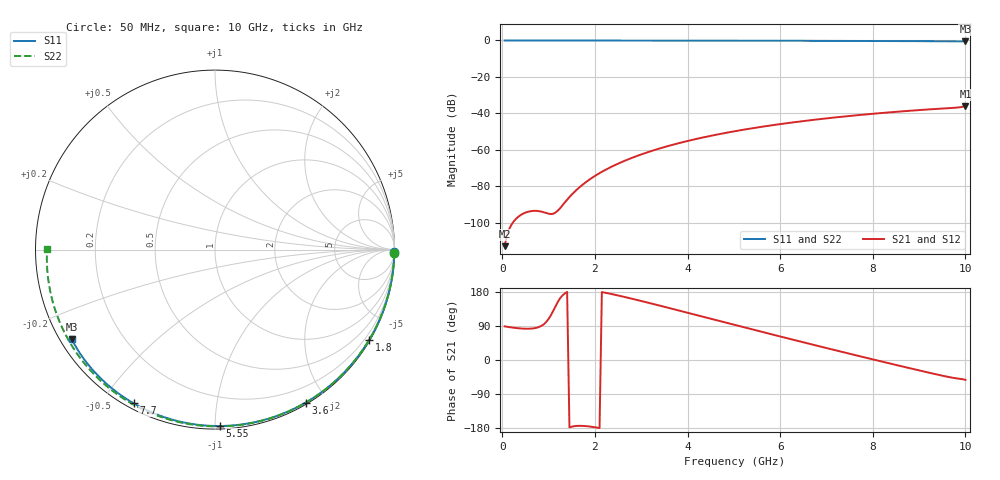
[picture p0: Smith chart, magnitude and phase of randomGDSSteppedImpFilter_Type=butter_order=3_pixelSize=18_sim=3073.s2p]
! freq	dB(S11)	phase(S11)	dB(S12)	phase(S12)
!  dB(S21)	phase(S21)	dB(S22)	phase(S22)
!S-par simulation data
#  GHz  S  DB  R 50
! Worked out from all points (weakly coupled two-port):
!   200 points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, 50 MHz to 10 GHz, reference 50 ohm
!   highest |S21| = -36.11 dB at 10 GHz (marker M1); lowest = -112.9 dB at 50 MHz (marker M2)
!   lowest |S11| = -0.5 dB at 10 GHz (marker M3), VSWR 33.57, Z = 1.61 - j14.4 ohm
!   |S11| at or under -10 dB: nowhere
!   |S22| runs from -0.6 to 0.0 dB; largest |S21 - S12| = 0
!   S11 on the Smith chart (normalised r, x): 50 MHz: open; 1.8 GHz: 0.03, -3.67; 3.6 GHz: 0.02, -1.75; 5.55 GHz: 0.02, -1.03; 7.7 GHz: 0.02, -0.60; 10 GHz: 0.03, -0.29
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0.05  -0.01 -0.8  -112.93 88.8  -112.93 88.8  -0.01 -1.0
0.8  -0.02 -13.7  -93.75 87.5  -93.75 87.5  -0.02 -16.7
1.2  -0.03 -20.4  -93.39 153.5  -93.39 153.5  -0.03 -24.9
1.65  -0.04 -28.0  -80.97 -173.7  -80.97 -173.7  -0.04 -34.0
1.7  -0.04 -28.8  -79.89 -173.7  -79.89 -173.7  -0.04 -35.0
1.75  -0.04 -29.6  -78.86 -174.0  -78.86 -174.0  -0.05 -36.1
1.8  -0.04 -30.5  -77.88 -174.4  -77.88 -174.4  -0.05 -37.1
2.1  -0.05 -35.4  -72.84 -179.6  -72.84 -179.6  -0.06 -43.0
2.5  -0.05 -41.9  -67.63 170.3  -67.63 170.3  -0.07 -50.9
2.9  -0.06 -48.4  -63.49 158.7  -63.49 158.7  -0.08 -58.6
3.4  -0.08 -56.3  -59.28 143.5  -59.28 143.5  -0.09 -68.1
3.6  -0.08 -59.4  -57.82 137.3  -57.82 137.3  -0.10 -71.8
4.3  -0.10 -70.1  -53.44 115.3  -53.44 115.3  -0.12 -84.5
5.05  -0.13 -81.2  -49.70 91.7  -49.70 91.7  -0.15 -97.7
5.55  -0.15 -88.4  -47.60 76.1  -47.60 76.1  -0.17 -106.3
6.1  -0.17 -96.2  -45.57 59.0  -45.57 59.0  -0.20 -115.5
6.7  -0.20 -104.5  -43.65 40.6  -43.65 40.6  -0.24 -125.4
7.7  -0.27 -117.9  -40.96 10.5  -40.96 10.5  -0.32 -141.7
8.35  -0.33 -126.5  -39.49 -8.7  -39.49 -8.7  -0.38 -152.3
9.2  -0.41 -137.7  -37.87 -33.1  -37.87 -33.1  -0.48 -166.4
9.8  -0.49 -145.5  -36.91 -48.3  -36.91 -48.3  -0.55 -176.7
10  -0.52 -147.9  -36.11 -52.6  -36.11 -52.6  -0.58 179.8
